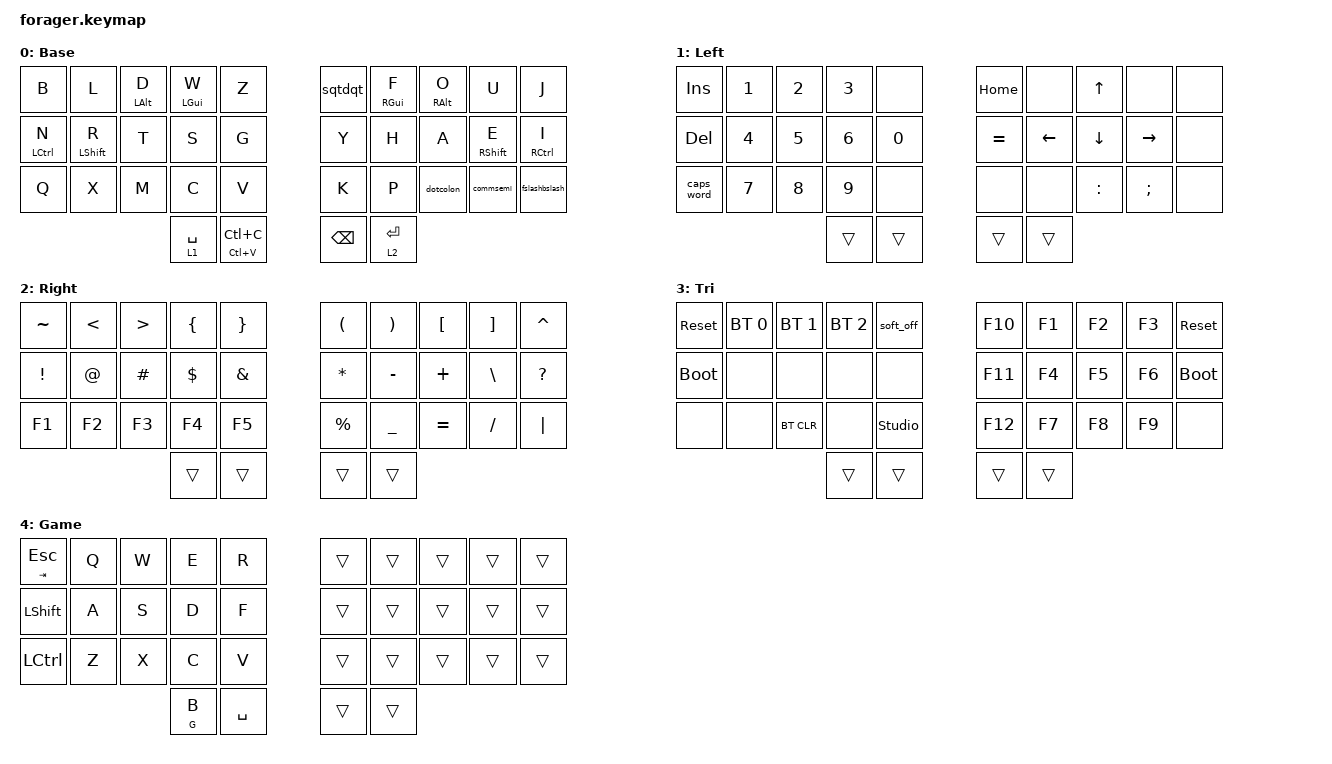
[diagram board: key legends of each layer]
// Copyright (c) 2022 The ZMK Contributors
// SPDX-License-Identifier: MIT

#include <behaviors.dtsi>
#include <dt-bindings/zmk/bt.h>
#include <dt-bindings/zmk/keys.h>

/ {
    behaviors {
        ht: hold_tap {
            compatible = "zmk,behavior-hold-tap";
            #binding-cells = <2>;
            flavor = "tap-preferred";
            tapping-term-ms = <200>;
            bindings = <&kp>, <&kp>;
        };

        hml: home_row_mod_left {
            compatible = "zmk,behavior-hold-tap";
            bindings = <&kp>, <&kp>;

            #binding-cells = <2>;
            tapping-term-ms = <280>;
            quick-tap-ms = <175>;
            require-prior-idle-ms = <125>;
            flavor = "balanced";
            hold-trigger-on-release;
            hold-trigger-key-positions = <5 6 8 9 7 15 16 25 26 32 33 17 18 19 27 28 29>;
            label = "hml";
        };

        hmr: home_row_mod_right {
            compatible = "zmk,behavior-hold-tap";
            bindings = <&kp>, <&kp>;

            #binding-cells = <2>;
            tapping-term-ms = <280>;
            quick-tap-ms = <175>;
            require-prior-idle-ms = <125>;
            flavor = "balanced";
            hold-trigger-on-release;
            hold-trigger-key-positions = <0 1 2 3 4 10 11 12 13 14 20 21 22 23 24 30 31>;
            label = "hmr";
        };

        sqtdqt: shift_squote_doublequote {
            compatible = "zmk,behavior-mod-morph";
            label = "sqtdqt";
            bindings = <&kp SINGLE_QUOTE>, <&kp DOUBLE_QUOTES>;

            #binding-cells = <0>;
            mods = <(MOD_LSFT)>;
        };

        dotcolon: shift_dot_colon {
            compatible = "zmk,behavior-mod-morph";
            bindings = <&kp DOT>, <&kp COLON>;

            #binding-cells = <0>;
            mods = <(MOD_LSFT)>;
            label = "dotcolon";
        };

        fslashbslash: shift_fslash_bslash {
            compatible = "zmk,behavior-mod-morph";
            label = "fslashbslash";
            bindings = <&kp FSLH>, <&kp BSLH>;

            #binding-cells = <0>;
            mods = <(MOD_LSFT)>;
        };

        commsemi: shift_comma_semicolon {
            compatible = "zmk,behavior-mod-morph";
            bindings = <&kp COMMA>, <&kp SEMI>;

            #binding-cells = <0>;
            mods = <(MOD_LSFT)>;
            label = "commsemi";
        };
    };

    conditional_layers {
        compatible = "zmk,conditional-layers";

        tri_layer {
            if-layers = <1 2>;
            then-layer = <3>;
        };
    };

    combos {
        compatible = "zmk,combos";

        combo_gameMode {
            bindings = <&tog 4>;
            key-positions = <31 32>;
            layers = <0 4>;
        };

        combo_tab {
            bindings = <&kp TAB>;
            key-positions = <11 12>;
            layers = <0>;
        };

        combo_escape {
            bindings = <&kp ESCAPE>;
            key-positions = <1 2>;
            layers = <0>;
        };

        combo_shift_delete {
            bindings = <&kp LS(DELETE)>;
            key-positions = <20 21>;
            layers = <0>;
        };

        combo_enter {
            bindings = <&kp ENTER>;
            key-positions = <21 22>;
        };
    };

    macros {
        email: email {
            compatible = "zmk,behavior-macro";
            #binding-cells = <0>;
            bindings = <&kp N &kp L &kp DOT &kp A &kp T &kp U &kp L &kp A &kp L &kp E &kp X &kp AT &kp G &kp M &kp A &kp I &kp L &kp DOT &kp C &kp O &kp M>;
            label = "EMAIL";
        };
    };

    keymap {
        compatible = "zmk,keymap";

        Base {
            bindings = <
&kp B         &kp L          &hml LEFT_ALT D  &hml LEFT_GUI W  &kp Z              &sqtdqt        &hmr RGUI F  &hmr RIGHT_ALT O  &kp U          &kp J
&hml LCTRL N  &hml LSHIFT R  &kp T            &kp S            &kp G              &kp Y          &kp H        &kp A             &hmr RSHIFT E  &hmr RCTRL I
&kp Q         &kp X          &kp M            &kp C            &kp V              &kp K          &kp P        &dotcolon         &commsemi      &fslashbslash
                                              &lt 1 SPACE      &mt LC(V) LC(C)    &kp BACKSPACE  &lt 2 ENTER
            >;

            label = "Base";
        };

        Left {
            bindings = <
&kp INS     &kp N1  &kp N2  &kp N3  &none     &kp HOME   &none           &kp UP_ARROW    &none            &none
&kp DEL     &kp N4  &kp N5  &kp N6  &kp N0    &kp EQUAL  &kp LEFT_ARROW  &kp DOWN_ARROW  &kp RIGHT_ARROW  &none
&caps_word  &kp N7  &kp N8  &kp N9  &none     &none      &none           &kp COLON       &kp SEMICOLON    &none
                            &trans  &trans    &trans     &trans
            >;

            label = "Left";
        };

        Right {
            bindings = <
&kp TILDE  &kp LESS_THAN  &kp GREATER_THAN  &kp LBRC  &kp RIGHT_BRACE    &kp LEFT_PARENTHESIS  &kp RIGHT_PARENTHESIS  &kp LEFT_BRACKET  &kp RIGHT_BRACKET  &kp CARET
&kp EXCL   &kp AT         &kp HASH          &kp DLLR  &kp AMPERSAND      &kp ASTRK             &kp MINUS              &kp PLUS          &kp BSLH           &kp QMARK
&kp F1     &kp F2         &kp F3            &kp F4    &kp F5             &kp PERCENT           &kp UNDER              &kp EQUAL         &kp FSLH           &kp PIPE
                                            &trans    &trans             &trans                &trans
            >;

            label = "Right";
        };

        Tri {
            bindings = <
&sys_reset   &bt BT_SEL 0  &bt BT_SEL 1  &bt BT_SEL 2  &soft_off         &kp F10  &kp F1  &kp F2  &kp F3  &sys_reset
&bootloader  &none         &none         &none         &none             &kp F11  &kp F4  &kp F5  &kp F6  &bootloader
&none        &none         &bt BT_CLR    &none         &studio_unlock    &kp F12  &kp F7  &kp F8  &kp F9  &none
                                         &trans        &trans            &trans   &trans
            >;

            label = "Tri";
        };

        Game {
            bindings = <
&mt TAB ESCAPE    &kp Q  &kp W  &kp E    &kp R        &trans  &trans  &trans  &trans  &trans
&kp LEFT_SHIFT    &kp A  &kp S  &kp D    &kp F        &trans  &trans  &trans  &trans  &trans
&kp LEFT_CONTROL  &kp Z  &kp X  &kp C    &kp V        &trans  &trans  &trans  &trans  &trans
                                &mt G B  &kp SPACE    &trans  &trans
            >;

            label = "Game";
        };
    };
};
